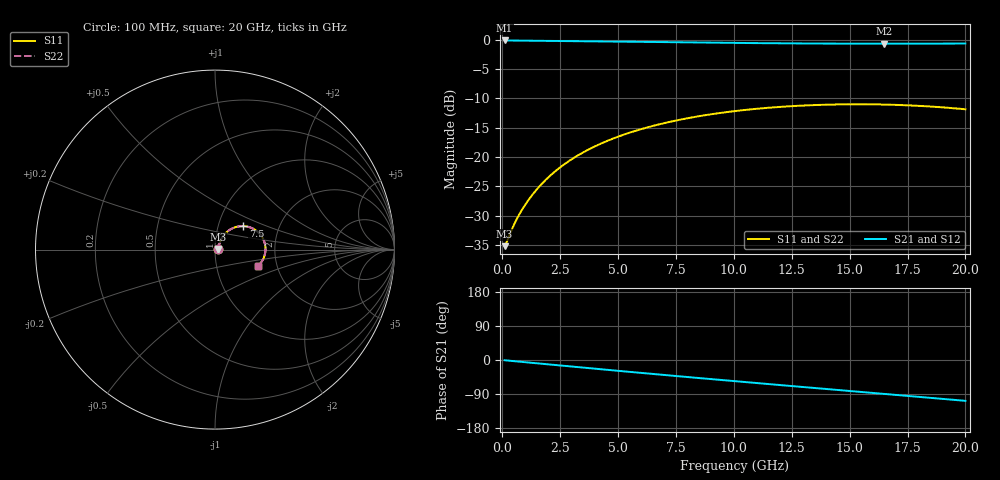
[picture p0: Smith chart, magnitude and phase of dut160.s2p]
! Touchstone file exported from HFSS 2026.1.0
!  File:  C:/ffzhzh/LocalFiles/Ansys_Project_Files/temp_train_TSV_RDL_160_1783053589_46780.aedt
!  Generated:  12:53:11 PM Jul  3, 2026
!  Design:  TSV_RDL
!  Project:  temp_train_TSV_RDL_160_1783053589_46780
! Variables:
!  h_bsmrdl = 2.32um
!  h_ox = 20um
!  h_rdl = 5um
!  h_sub = 55.35um
!  h_tmrdl = 4.55um
!  h_tsv = 55.35um
!  h_via = 3um
!  l_bsmrdl = 237.23um
!  l_sub = 1831.16um
!  l_tmrdl = 153.19um
!  m_sub = 200um
!  pitch = 25.46um
!  r_tsv = 2.33um
!  s_tmrdl = 10um
!  w_bsmrdl = 21.14um
!  w_sub = 500um
!  w_tmrdl = 14.43um
!  x_tsv_center1 = 160.405um
!  x_tsv_center2 = 418.775um
!  x_tsv_center3 = 586.395um
!  x_tsv_center4 = 844.765um
!  x_tsv_center5 = 1012.385um
!  x_tsv_center6 = 1270.755um
# GHz S MA R 50.000000
! Terminal data exported
! Port[1] = TM_RDL1_1_T1
! Port[2] = TM_RDL5_1_T1
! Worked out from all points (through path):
!   200 points, 100 MHz to 20 GHz, reference 50 ohm
!   highest |S21| = -0.15 dB at 100 MHz (marker M1); lowest = -0.7 dB at 16.5 GHz (marker M2)
!   group delay of S21, straight-line fit = 14.8 ps
!   lowest |S11| = -35.2 dB at 100 MHz (marker M3), VSWR 1.04, Z = 51.7 + j0.398 ohm
!   |S11| at or under -10 dB: start of sweep to end of sweep
!   |S22| runs from -35.2 to -11.0 dB; largest |S21 - S12| = 2.6e-14
!   S11 on the Smith chart (normalised r, x): 100 MHz: 1.03, +0.01; 7.5 GHz: 1.32, +0.36; 20 GHz: 1.58, -0.32
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0.1  0.01742 12.7  0.983 -0.6  0.983 -0.6  0.01742 12.7
! Gamma 0 0 0 0
! Port Impedance 50 0 50 0
0.5  0.02639 40.9  0.9808 -3.0  0.9808 -3.0  0.02639 40.9
0.7  0.03162 46.9  0.9798 -4.2  0.9798 -4.2  0.03162 46.9
1  0.03958 52.5  0.9787 -5.9  0.9787 -5.9  0.03958 52.4
1.4  0.05053 56.6  0.9775 -8.2  0.9775 -8.2  0.05053 56.6
1.8  0.0618 58.6  0.9763 -10.5  0.9763 -10.5  0.0618 58.6
2.3  0.07604 59.3  0.9746 -13.3  0.9746 -13.3  0.07604 59.3
2.9  0.09305 58.7  0.9724 -16.8  0.9724 -16.8  0.09305 58.7
3.5  0.1097 57.1  0.9699 -20.2  0.9699 -20.2  0.1097 57.1
4.2  0.1286 54.7  0.9666 -24.1  0.9666 -24.1  0.1286 54.7
5  0.149 51.4  0.9626 -28.6  0.9626 -28.6  0.149 51.4
6.8  0.1904 43.2  0.9531 -38.5  0.9531 -38.5  0.1904 43.2
7.5  0.2046 39.8  0.9494 -42.3  0.9494 -42.3  0.2046 39.8
8.8  0.2278 33.5  0.9427 -49.3  0.9427 -49.3  0.2278 33.5
10.1  0.2469 27.1  0.9367 -56.2  0.9367 -56.2  0.2469 27.1
11.7  0.2647 19.2  0.9305 -64.6  0.9305 -64.6  0.2647 19.2
13.4  0.2766 10.9  0.9257 -73.4  0.9257 -73.4  0.2766 10.8
15  0.2812 3.0  0.9231 -81.7  0.9231 -81.7  0.2812 3.0
16.5  0.2797 -4.3  0.9222 -89.5  0.9222 -89.5  0.2797 -4.3
16.7  0.2791 -5.3  0.9222 -90.5  0.9222 -90.5  0.2791 -5.3
18.4  0.2699 -13.7  0.9233 -99.4  0.9233 -99.4  0.2699 -13.7
20  0.2549 -21.5  0.9257 -107.7  0.9257 -107.7  0.2549 -21.5
